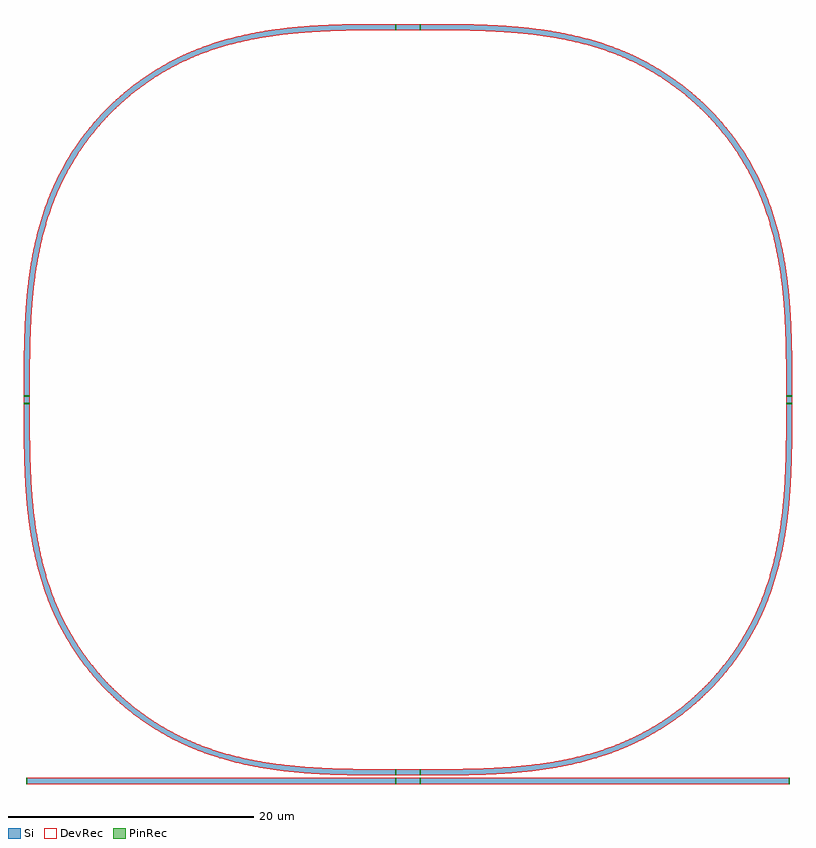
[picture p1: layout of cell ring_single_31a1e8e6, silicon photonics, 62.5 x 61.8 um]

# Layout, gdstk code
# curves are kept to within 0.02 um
from math import pi, radians
import gdstk
lib = gdstk.Library(unit=1e-6, precision=1e-09)
def R(c, l, rs):  # rectangles x0, y0, x1, y1
    for r in rs: c.add(gdstk.rectangle(r[:2], r[2:], *l))
def P(c, l, *ps):  # polygons
    for p in ps: c.add(gdstk.Polygon(p, *l))
Si = (1, 0)
PinRec = (1, 10)
DevRec = (68, 0)

bend_euler_b5a4bf5f = lib.new_cell('bend_euler_b5a4bf5f')
P(bend_euler_b5a4bf5f, Si, [(0,-0.25),(2.799,-0.24),(5.041,-0.19),(6.724,-0.107),(8.265,0.016),(9.942,0.214),(11.332,0.439),(12.85,0.759),(14.078,1.084),(15.422,1.517),(16.741,2.034),(18.032,2.64),(19.033,3.187),(20.124,3.864),(21.172,4.605),(22.282,5.501),(23.33,6.468),(24.311,7.503),(25.134,8.489),(25.977,9.639),(26.741,10.844),(27.36,11.968),(27.966,13.259),(28.483,14.578),(28.916,15.922),(29.241,17.15),(29.561,18.668),(29.786,20.058),(29.984,21.735),(30.107,23.276),(30.19,24.959),(30.24,27.201),(30.25,30),(29.75,30),(29.74,27.207),(29.695,25.116),(29.599,23.169),(29.444,21.369),(29.251,19.853),(28.964,18.214),(28.655,16.863),(28.276,15.532),(27.82,14.227),(27.338,13.075),(26.851,12.072),(26.167,10.858),(25.405,9.692),(24.654,8.688),(23.937,7.835),(23.078,6.922),(22.165,6.063),(21.312,5.346),(20.308,4.595),(19.142,3.833),(17.928,3.149),(16.925,2.662),(15.773,2.18),(14.468,1.724),(13.137,1.345),(11.786,1.036),(10.147,0.749),(8.631,0.556),(6.831,0.401),(4.884,0.305),(2.793,0.26),(0,0.25)])
R(bend_euler_b5a4bf5f, PinRec, [(-0.05,-0.25,0.05,0.25), (29.75,29.95,30.25,30.05)])
P(bend_euler_b5a4bf5f, DevRec, [(0,-0.25),(2.799,-0.24),(5.041,-0.19),(6.724,-0.107),(8.265,0.016),(9.942,0.214),(11.332,0.439),(12.85,0.759),(14.078,1.084),(15.422,1.517),(16.741,2.034),(18.032,2.64),(19.033,3.187),(20.124,3.864),(21.172,4.605),(22.282,5.501),(23.33,6.468),(24.311,7.503),(25.134,8.489),(25.977,9.639),(26.741,10.844),(27.36,11.968),(27.966,13.259),(28.483,14.578),(28.916,15.922),(29.241,17.15),(29.561,18.668),(29.786,20.058),(29.984,21.735),(30.107,23.276),(30.19,24.959),(30.24,27.201),(30.25,30),(29.75,30),(29.74,27.207),(29.695,25.116),(29.599,23.169),(29.444,21.369),(29.251,19.853),(28.964,18.214),(28.655,16.863),(28.276,15.532),(27.82,14.227),(27.338,13.075),(26.851,12.072),(26.167,10.858),(25.405,9.692),(24.654,8.688),(23.937,7.835),(23.078,6.922),(22.165,6.063),(21.312,5.346),(20.308,4.595),(19.142,3.833),(17.928,3.149),(16.925,2.662),(15.773,2.18),(14.468,1.724),(13.137,1.345),(11.786,1.036),(10.147,0.749),(8.631,0.556),(6.831,0.401),(4.884,0.305),(2.793,0.26),(0,0.25)])
bend_euler_b5a4bf5f.add(gdstk.FlexPath([(0.05,0),(-0.05,0)], 0.5, ends="flush", simple_path=True, layer=1, datatype=10))  # PinRec
bend_euler_b5a4bf5f.add(gdstk.FlexPath([(30,29.95),(30,30.05)], 0.5, ends="flush", simple_path=True, layer=1, datatype=10))  # PinRec
bend_euler_b5a4bf5f.add(gdstk.Label('o1', (0,0), layer=1, texttype=10))
bend_euler_b5a4bf5f.add(gdstk.Label('o2', (30,30), layer=1, texttype=10))

straight_e7377e89 = lib.new_cell('straight_e7377e89')
R(straight_e7377e89, Si, [(0,-0.25,30,0.25)])
R(straight_e7377e89, PinRec, [(-0.05,-0.25,0.05,0.25), (29.95,-0.25,30.05,0.25)])
R(straight_e7377e89, DevRec, [(0,-0.25,30,0.25)])
straight_e7377e89.add(gdstk.FlexPath([(0.05,0),(-0.05,0)], 0.5, ends="flush", simple_path=True, layer=1, datatype=10))  # PinRec
straight_e7377e89.add(gdstk.FlexPath([(29.95,0),(30.05,0)], 0.5, ends="flush", simple_path=True, layer=1, datatype=10))  # PinRec
straight_e7377e89.add(gdstk.Label('o1', (0,0), layer=1, texttype=10))
straight_e7377e89.add(gdstk.Label('o2', (30,0), layer=1, texttype=10))

coupler90_78f1c8e5 = lib.new_cell('coupler90_78f1c8e5')
coupler90_78f1c8e5.add(gdstk.Reference(bend_euler_b5a4bf5f, (0,0.7)))
coupler90_78f1c8e5.add(gdstk.Reference(straight_e7377e89, (0,0)))

straight_fba69bc3 = lib.new_cell('straight_fba69bc3')
R(straight_fba69bc3, Si, [(0,-0.25,2,0.25)])
R(straight_fba69bc3, PinRec, [(-0.05,-0.25,0.05,0.25), (1.95,-0.25,2.05,0.25)])
R(straight_fba69bc3, DevRec, [(0,-0.25,2,0.25)])
straight_fba69bc3.add(gdstk.FlexPath([(0.05,0),(-0.05,0)], 0.5, ends="flush", simple_path=True, layer=1, datatype=10))  # PinRec
straight_fba69bc3.add(gdstk.FlexPath([(1.95,0),(2.05,0)], 0.5, ends="flush", simple_path=True, layer=1, datatype=10))  # PinRec
straight_fba69bc3.add(gdstk.Label('o1', (0,0), layer=1, texttype=10))
straight_fba69bc3.add(gdstk.Label('o2', (2,0), layer=1, texttype=10))

coupler_straight_9b1c218 = lib.new_cell('coupler_straight_9b1c218f')
coupler_straight_9b1c218.add(gdstk.Reference(straight_fba69bc3, (0,0.7)))
coupler_straight_9b1c218.add(gdstk.Reference(straight_fba69bc3, (0,0)))

coupler_ring_42a38677 = lib.new_cell('coupler_ring_42a38677')
coupler_ring_42a38677.add(gdstk.Reference(coupler90_78f1c8e5, (-2,0), rotation=pi, x_reflection=True))
coupler_ring_42a38677.add(gdstk.Reference(coupler90_78f1c8e5, (0,0)))
coupler_ring_42a38677.add(gdstk.Reference(coupler_straight_9b1c218, (-2,0)))

straight_c1e7b81b = lib.new_cell('straight_c1e7b81b')
R(straight_c1e7b81b, Si, [(0,-0.25,0.6,0.25)])
R(straight_c1e7b81b, PinRec, [(-0.05,-0.25,0.05,0.25), (0.55,-0.25,0.65,0.25)])
R(straight_c1e7b81b, DevRec, [(0,-0.25,0.6,0.25)])
straight_c1e7b81b.add(gdstk.FlexPath([(0.05,0),(-0.05,0)], 0.5, ends="flush", simple_path=True, layer=1, datatype=10))  # PinRec
straight_c1e7b81b.add(gdstk.FlexPath([(0.55,0),(0.65,0)], 0.5, ends="flush", simple_path=True, layer=1, datatype=10))  # PinRec
straight_c1e7b81b.add(gdstk.Label('o1', (0,0), layer=1, texttype=10))
straight_c1e7b81b.add(gdstk.Label('o2', (0.6,0), layer=1, texttype=10))

ring_single_31a1e8e6 = lib.new_cell('ring_single_31a1e8e6')
ring_single_31a1e8e6.add(gdstk.Reference(coupler_ring_42a38677, (0,0)))
ring_single_31a1e8e6.add(gdstk.Reference(straight_c1e7b81b, (-32,30.7), rotation=pi/2))
ring_single_31a1e8e6.add(gdstk.Reference(straight_c1e7b81b, (30,31.3), rotation=3*pi/2))
ring_single_31a1e8e6.add(gdstk.Reference(bend_euler_b5a4bf5f, (-2,61.3), rotation=pi))
ring_single_31a1e8e6.add(gdstk.Reference(bend_euler_b5a4bf5f, (30,31.3), rotation=pi/2))
ring_single_31a1e8e6.add(gdstk.Reference(straight_fba69bc3, (0,61.3), rotation=pi))

lib.write_gds('ring_single_31a1e8e6.gds')
